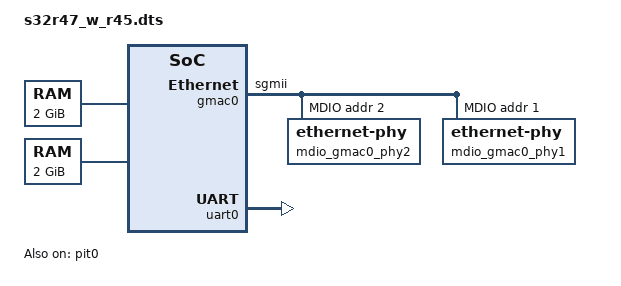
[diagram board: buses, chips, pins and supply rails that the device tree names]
// SPDX-License-Identifier: (GPL-2.0+ OR BSD-3-Clause)
/*
 * Device Tree file compatibility layer between NXP R47 SoC
 * and R45 EVB board.
 *
 * Copyright 2025 NXP
 */

#include "s32r47.dtsi"
#include "s32r47-nxp-flash-micron.dtsi"

#include <dt-bindings/pinctrl/s32cc-pinfunc.h>
#include <dt-bindings/perf/s32cc-scmi-perf.h>

/ {

	tick-timer = &pit0;

	/delete-node/ memory@60000000;

	memory@80000000 {
		device_type = "memory";
		reg = <0 0x80000000 0 0x80000000>;
	};

	memory@880000000 {
		device_type = "memory";
		reg = <0x8 0x80000000 0 0x80000000>;
	};

	reserved-memory {
		scmi_shbuf: shm@d0000000 {
			compatible = "arm,scmi-shmem";
			reg = <0x0 0xd0000000 0x0 0x80>;
			no-map;
		};
	};

	clocks {
		gmac0_tx_clk: gmac0-tx-clk {
			compatible = "fixed-clock";
			clock-frequency = <312500000>;
			clock-output-names = "gmac0_tx_clk";
			#clock-cells = <0>;
		};

		gmac0_rx_clk: gmac0-rx-clk {
			compatible = "fixed-clock";
			clock-frequency = <500000000>;
			clock-output-names = "gmac0_rx_clk";
			#clock-cells = <0>;
		};

	};

	firmware {
		u-boot,dm-pre-reloc;

		scmi: scmi {
			u-boot,dm-pre-reloc;
			compatible = "arm,scmi-smc";
			shmem = <&scmi_shbuf>;
			arm,smc-id = <0xc20000fe>;
			#address-cells = <1>;
			#size-cells = <0>;

			dfs: protocol@13 {
				reg = <0x13>;
				#clock-cells = <1>;
			};
		};
	};

	/delete-node/ cpus;
	cpus {
		#address-cells = <1>;
		#size-cells = <0>;
		u-boot,dm-pre-reloc;

		cluster0_l2_cache: l2-cache0 {
			compatible = "cache";
		};

		cluster1_l2_cache: l2-cache1 {
			compatible = "cache";
		};

		cpu-map {
			cluster0 {
				core0 {
					cpu = <&cpu0>;
				};

				core1 {
					cpu = <&cpu1>;
				};
			};

			cluster1 {
				core0 {
					cpu = <&cpu2>;
				};

				core1 {
					cpu = <&cpu3>;
				};
			};
		};

		cpu0: cpu@0 {
			device_type = "cpu";
			compatible = "arm,cortex-a53";
			reg = <0x0>;
			enable-method = "psci";
			clocks = <&dfs S32CC_SCMI_PERF_A53>;
			next-level-cache = <&cluster0_l2_cache>;
		};

		cpu1: cpu@1 {
			device_type = "cpu";
			compatible = "arm,cortex-a53";
			reg = <0x1>;
			enable-method = "psci";
			clocks = <&dfs S32CC_SCMI_PERF_A53>;
			next-level-cache = <&cluster0_l2_cache>;
		};

		cpu2: cpu@100 {
			device_type = "cpu";
			compatible = "arm,cortex-a53";
			reg = <0x100>;
			enable-method = "psci";
			clocks = <&dfs S32CC_SCMI_PERF_A53>;
			next-level-cache = <&cluster1_l2_cache>;
		};

		cpu3: cpu@101 {
			device_type = "cpu";
			compatible = "arm,cortex-a53";
			reg = <0x101>;
			enable-method = "psci";
			clocks = <&dfs S32CC_SCMI_PERF_A53>;
			next-level-cache = <&cluster1_l2_cache>;
		};
	};
};

&lin_clk {
	clock-frequency = <125000000>;
};

&soc {
	/delete-node/ siul2@40100000;
	siul2@4009c000 {
		compatible = "simple-mfd";
		u-boot,dm-pre-reloc;
		#address-cells = <2>;
		#size-cells = <2>;

		/* MIDR */
		ranges = <MIDR_SIUL2_0 0 0x0 0x4009c000 0x0 0x10>,
			<MIDR_SIUL2_1 0 0x0 0x4403c000 0x0 0x10>;

		siul2_0_nvram: siul2_0_nvram {
			reg = <MIDR_SIUL2_0 0 0x0 0x10>;
			#address-cells = <1>;
			#size-cells = <1>;
			compatible = "nxp,s32cc-siul2_0-nvmem";

			soc_major: soc_major@0 {
				reg = <SOC_MAJOR_OFFSET NVRAM_CELL_SIZE>;
			};

			soc_minor: soc_minor@1 {
				reg = <SOC_MINOR_OFFSET NVRAM_CELL_SIZE>;
			};
		};
	};

	/delete-node/ spi@402d0000;
	qspi: spi@40134000 {
		compatible = "nxp,s32cc-qspi";
		#address-cells = <1>;
		#size-cells = <0>;
		reg = <0x0 0x40134000 0x0 0x1000>,
			<0x0 0x00000000 0x0 0x20000000>;
		reg-names = "QuadSPI", "QuadSPI-memory";
		clock-names = "qspi_en", "qspi";
		clocks = <&qspi_clk>, <&qspi_clk>;
		spi-max-frequency = <200000000>;
		spi-num-chipselects = <2>;
		status = "disabled";

		macronix_memory: mx25uw51245g@0 {
			compatible = "jedec,spi-nor";
			spi-max-frequency = <200000000>;
			spi-tx-bus-width = <8>;
			spi-rx-bus-width = <8>;
			reg = <0>;

			partitions {
				compatible = "fixed-partitions";
				#address-cells = <1>;
				#size-cells = <1>;

				flashimage@0 {
					label = "Flash-Image";
					reg = <0x0 0x4000000>;
				};

				m7-software@0 {
					label = "M7-Software";
					reg = <0x0 0x1350000>;
				};

				boot-info@1350000 {
					label = "BL2-SW-INFO";
					reg = <0x1350000 0x10000>;
				};

				boot@1360000 {
					label = "BL2";
					reg = <0x1360000 0xc0000>;
				};

				fip@1420000 {
					label = "FIP";
					reg = <0x1420000 0x100000>;
				};

				boot-env@1520000 {
					label = "U-Boot-Env";
					reg = <0x1520000 0x10000>;
				};

				kernel@1530000 {
					label = "Kernel";
					reg = <0x1530000 0xF00000>;
				};

				dtb@2430000 {
					label = "DTB";
					reg = <0x2430000 0x10000>;
				};

				rootfs@2440000 {
					label = "Rootfs";
					reg = <0x2440000 0x1600000>;
				};
			};
		};
	};

	gmac0: ethernet@4033c000 {
		compatible = "nxp,s32cc-dwmac";
		reg = <0x0 0x4033c000 0x0 0x2000>;
		interrupt-parent = <&gic>;
		interrupts = <GIC_SPI 57 IRQ_TYPE_LEVEL_HIGH>;
		interrupt-names = "macirq";
		tx-fifo-depth = <20480>;
		rx-fifo-depth = <20480>;
		status = "okay";
		phy-names = "gmac_xpcs";
		dma-coherent;
		clocks = <&sys_clk 0>,
			<&sys_clk 0>,
			<&gmac0_tx_clk 0>,
			<&gmac0_tx_clk 0>,
			<&gmac0_tx_clk 0>,
			<&gmac0_tx_clk 0>,
			<&gmac0_rx_clk 0>,
			<&gmac0_rx_clk 0>,
			<&gmac0_rx_clk 0>,
			<&gmac0_rx_clk 0>,
			<&gmac_ts_clk 0>;
		clock-names = "stmmaceth", "pclk",
				"tx_sgmii", "tx_rgmii",
				"tx_rmii", "tx_mii",
				"rx_sgmii", "rx_rgmii",
				"rx_rmii", "rx_mii",
				"ptp_ref";
		#address-cells = <1>;
		#size-cells = <0>;
		phy-mode = "sgmii";

		gmac0_mdio: mdio@4033c200 {
			#address-cells = <1>;
			#size-cells = <0>;
			compatible = "snps,dwmac-mdio";
			reg = <0x4033c200>;

			/* TJA1120B */
			mdio_gmac0_phy2: ethernet-phy@2 {
				reg = <2>;
			};

			/* GPHY212 */
			mdio_gmac0_phy1: ethernet-phy@1 {
				reg = <1>;
			};
		};
	};

	/delete-node/ syscon@440d0000;
	src: syscon@4007c000 {
		compatible = "simple-mfd", "syscon";
		reg = <0x0 0x4007c000 0x0 0x3000>;
		#address-cells = <1>;
		#size-cells = <1>;
		ranges = <0x0 0x0 0x4007c000 0x100>;
	};

	/delete-node/ pit@440d8000;
	pit0: pit@40188000 {
		compatible = "nxp,s32cc-pit";
		reg = <0x0 0x40188000 0x0 0x3000>;
		interrupts = <GIC_SPI 53 IRQ_TYPE_LEVEL_HIGH>;
		clocks = <&pit_clk>;
		clock-names = "pit";
		status = "okay";
	};

	/delete-node/ serial@4048c000;
	uart0: serial@401c8000 {
		compatible = "nxp,s32cc-linflexuart", "fsl,s32v234-linflexuart";
		reg = <0x0 0x401c8000 0x0 0x3000>;
		interrupts = <GIC_SPI 82 IRQ_TYPE_EDGE_RISING>;
		clocks = <&lin_clk>, <&xbar_lin_clk>;
		clock-names = "lin", "ipg";
		status = "okay";
	};
};
